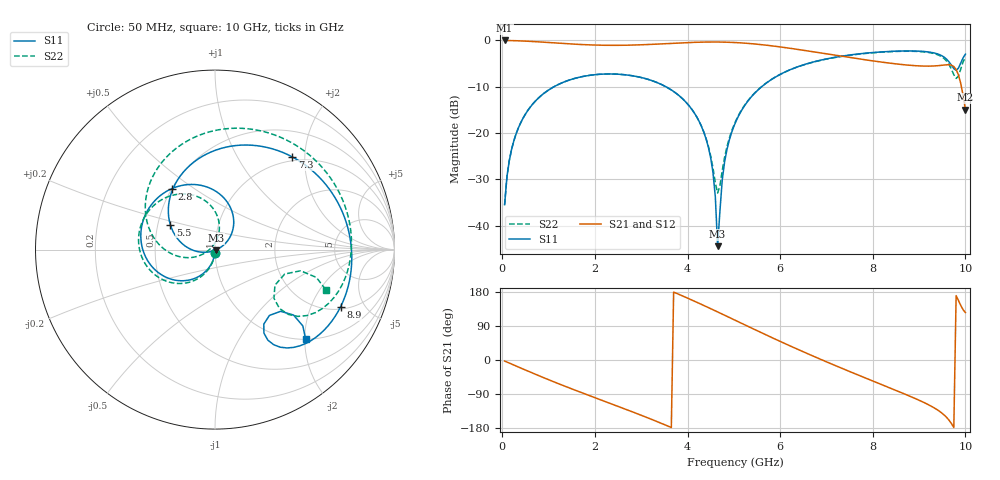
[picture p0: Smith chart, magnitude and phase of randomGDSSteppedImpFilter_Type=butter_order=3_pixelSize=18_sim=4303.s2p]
! freq	dB(S11)	phase(S11)	dB(S12)	phase(S12)
!  dB(S21)	phase(S21)	dB(S22)	phase(S22)
!S-par simulation data
#  GHz  S  DB  R 50
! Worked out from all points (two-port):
!   200 points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, 50 MHz to 10 GHz, reference 50 ohm
!   highest |S21| = -0.01 dB at 50 MHz (marker M1); lowest = -15.0 dB at 10 GHz (marker M2)
!   |S21| within 3 dB of the highest: start of sweep to 7.068 GHz
!   lowest |S11| = -44.5 dB at 4.65 GHz (marker M3), VSWR 1.01, Z = 50.4 - j0.426 ohm
!   |S11| at or under -10 dB: start of sweep to 1.117 GHz; 3.532 GHz to 5.601 GHz (2.069 GHz wide, 45.3 % of centre)
!   |S22| runs from -35.5 to -2.3 dB; largest |S21 - S12| = 0
!   S11 on the Smith chart (normalised r, x): 50 MHz: 1.00, -0.03; 2.8 GHz: 0.50, +0.41; 5.5 GHz: 0.58, +0.18; 7.3 GHz: 0.93, +1.75; 8.9 GHz: 2.13, -3.32; 10 GHz: 1.00, -2.02
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0.05  -35.49 -92.9  -0.01 -2.7  -0.01 -2.7  -35.49 -92.6
0.2  -23.56 -101.6  -0.04 -10.7  -0.04 -10.7  -23.56 -100.5
0.5  -15.91 -118.4  -0.15 -26.5  -0.15 -26.5  -15.91 -115.8
1.75  -7.77 176.8  -0.91 -87.9  -0.91 -87.9  -7.77 -173.8
2.8  -7.62 125.1  -1.01 -136.3  -1.01 -136.3  -7.62 141.5
3.4  -9.35 93.9  -0.76 -165.4  -0.76 -165.4  -9.35 115.3
4.35  -19.79 38.5  -0.36 144.0  -0.36 144.0  -19.72 77.2
4.55  -28.60 22.8  -0.34 132.6  -0.34 132.6  -27.58 86.4
4.6  -33.77 14.9  -0.34 129.8  -0.34 129.8  -30.76 102.0
4.65  -44.46 -44.8  -0.34 126.9  -0.34 126.9  -32.98 134.9
4.8  -26.28 -162.5  -0.37 118.2  -0.37 118.2  -25.27 -162.7
5.05  -17.39 179.3  -0.47 103.7  -0.47 103.7  -17.19 -161.5
5.5  -10.91 150.9  -0.81 77.5  -0.81 77.5  -10.86 179.0
6.1  -6.84 115.0  -1.54 43.5  -1.54 43.5  -6.85 148.7
6.7  -4.69 81.4  -2.43 10.9  -2.43 10.9  -4.73 118.2
7.3  -3.44 50.1  -3.37 -20.3  -3.37 -20.3  -3.49 87.9
8.35  -2.38 0.3  -4.89 -72.8  -4.89 -72.8  -2.44 34.4
8.9  -2.28 -24.5  -5.45 -100.8  -5.45 -100.8  -2.35 5.0
9.45  -3.11 -51.2  -5.42 -136.1  -5.42 -136.1  -3.31 -28.7
9.7  -5.37 -59.6  -5.36 -167.9  -5.36 -167.9  -6.25 -42.4
9.85  -5.99 -43.2  -7.46 156.8  -7.46 156.8  -7.72 -19.3
10  -2.97 -44.6  -14.97 125.3  -14.97 125.3  -3.62 -20.0
